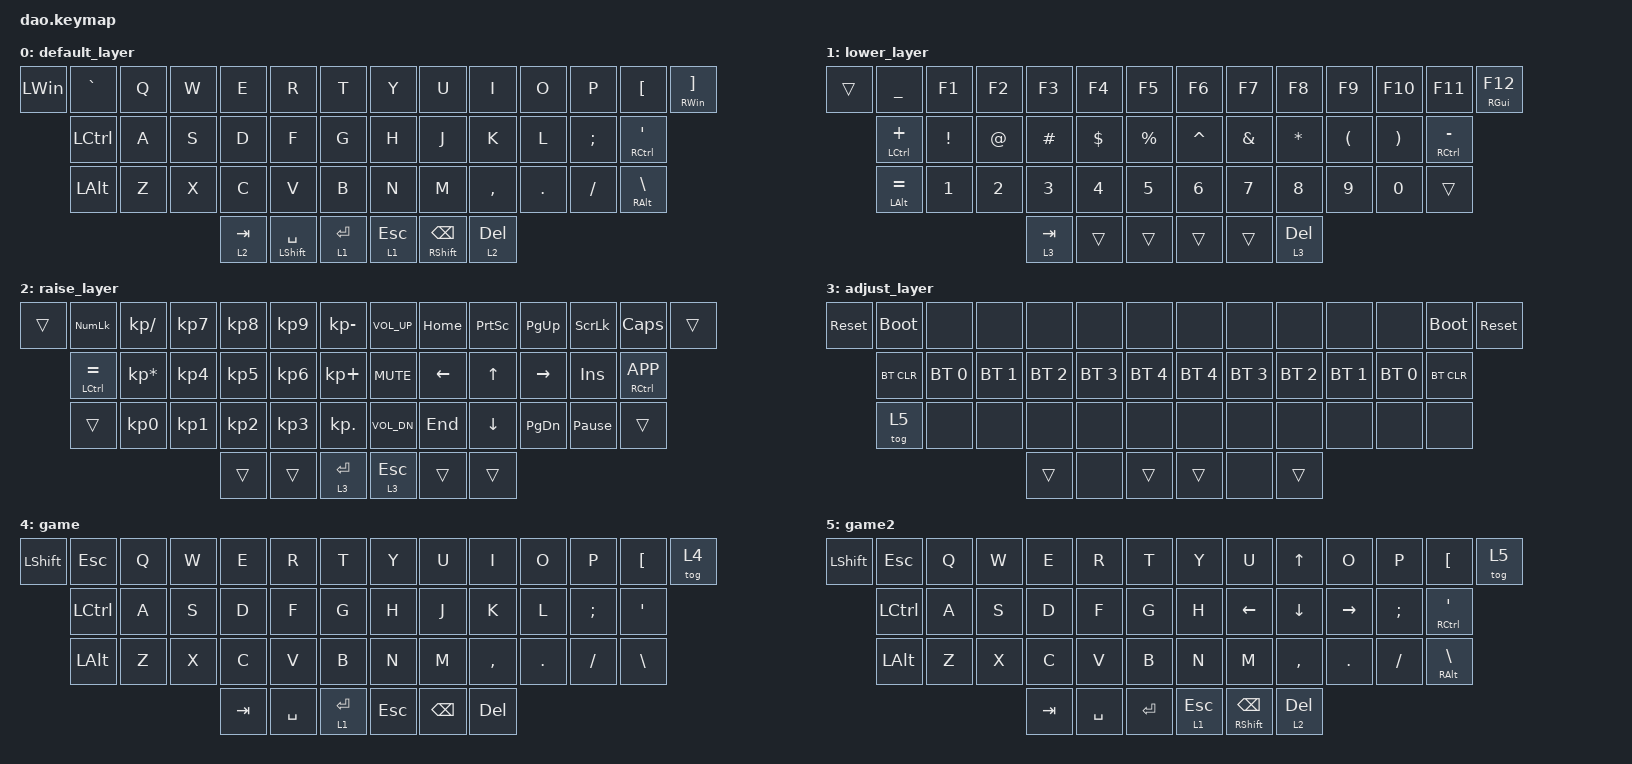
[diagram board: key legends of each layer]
/*
 * Copyright (c) 2021 Rafael Yumagulov
 *
 * SPDX-License-Identifier: MIT
 */

#include <behaviors.dtsi>
#include <dt-bindings/zmk/bt.h>
#include <dt-bindings/zmk/keys.h>

#define DEF 0
#define LWR 1
#define RSE 2
#define ADJ 3

&lt { quick_tap_ms = <200>; };

&mt { quick_tap_ms = <200>; };

/ {
    chosen {
        // zmk,matrix_transform = &default_transform;

        zmk,matrix_transform = &extra_keys_transform;
    };
};

/ {
    keymap {
        compatible = "zmk,keymap";

        default_layer {
            bindings = <
&kp LWIN  &kp GRAVE  &kp Q  &kp W  &kp E      &kp R            &kp T        &kp Y      &kp U           &kp I      &kp O    &kp P     &kp LBKT       &mt RWIN RBKT
          &kp LCTRL  &kp A  &kp S  &kp D      &kp F            &kp G        &kp H      &kp J           &kp K      &kp L    &kp SEMI  &mt RCTRL SQT
          &kp LALT   &kp Z  &kp X  &kp C      &kp V            &kp B        &kp N      &kp M           &kp COMMA  &kp DOT  &kp FSLH  &mt RALT BSLH
                                   &lt 2 TAB  &mt LSHFT SPACE  &lt 1 RET    &lt 1 ESC  &mt RSHFT BSPC  &lt 2 DEL
            >;
        };

        lower_layer {
            bindings = <
&trans  &kp UNDER       &kp F1    &kp F2  &kp F3     &kp F4    &kp F5       &kp F6     &kp F7    &kp F8     &kp F9    &kp F10   &kp F11          &mt RGUI F12
        &mt LCTRL PLUS  &kp EXCL  &kp AT  &kp HASH   &kp DLLR  &kp PRCNT    &kp CARET  &kp AMPS  &kp STAR   &kp LPAR  &kp RPAR  &mt RCTRL MINUS
        &mt LALT EQUAL  &kp N1    &kp N2  &kp N3     &kp N4    &kp N5       &kp N6     &kp N7    &kp N8     &kp N9    &kp N0    &trans
                                          &lt 3 TAB  &trans    &trans       &trans     &trans    &lt 3 DEL
            >;
        };

        raise_layer {
            bindings = <
&trans  &kp KP_NUM       &kp KP_SLASH     &kp KP_N7  &kp KP_N8  &kp KP_N9  &kp KP_MINUS    &kp C_VOL_UP  &kp HOME  &kp PSCRN  &kp PG_UP  &kp SLCK         &kp CAPS         &trans
        &mt LCTRL EQUAL  &kp KP_MULTIPLY  &kp KP_N4  &kp KP_N5  &kp KP_N6  &kp KP_PLUS     &kp C_MUTE    &kp LEFT  &kp UP     &kp RIGHT  &kp INS          &mt RCTRL K_APP
        &trans           &kp KP_N0        &kp KP_N1  &kp KP_N2  &kp KP_N3  &kp KP_DOT      &kp C_VOL_DN  &kp END   &kp DOWN   &kp PG_DN  &kp PAUSE_BREAK  &trans
                                                     &trans     &trans     &lt 3 RET       &lt 3 ESC     &trans    &trans
            >;
        };

        adjust_layer {
            bindings = <
&sys_reset  &bootloader  &none         &none         &none         &none         &none           &none         &none         &none         &none         &none         &bootloader  &sys_reset
            &bt BT_CLR   &bt BT_SEL 0  &bt BT_SEL 1  &bt BT_SEL 2  &bt BT_SEL 3  &bt BT_SEL 4    &bt BT_SEL 4  &bt BT_SEL 3  &bt BT_SEL 2  &bt BT_SEL 1  &bt BT_SEL 0  &bt BT_CLR
            &tog 5       &none         &none         &none         &none         &none           &none         &none         &none         &none         &none         &none
                                                     &trans        &none         &trans          &trans        &none         &trans
            >;
        };

        game {
            bindings = <
&kp LSHFT  &kp ESC    &kp Q  &kp W  &kp E    &kp R      &kp T          &kp Y    &kp U     &kp I      &kp O    &kp P     &kp LBKT  &tog 4
           &kp LCTRL  &kp A  &kp S  &kp D    &kp F      &kp G          &kp H    &kp J     &kp K      &kp L    &kp SEMI  &kp SQT
           &kp LALT   &kp Z  &kp X  &kp C    &kp V      &kp B          &kp N    &kp M     &kp COMMA  &kp DOT  &kp FSLH  &kp BSLH
                                    &kp TAB  &kp SPACE  &lt 1 ENTER    &kp ESC  &kp BSPC  &kp DEL
            >;
        };

        game2 {
            bindings = <
&kp LEFT_SHIFT  &kp ESCAPE  &kp Q  &kp W  &kp E    &kp R      &kp T        &kp Y      &kp U           &kp UP_ARROW  &kp O      &kp P     &kp LBKT       &tog 5
                &kp LCTRL   &kp A  &kp S  &kp D    &kp F      &kp G        &kp H      &kp LEFT        &kp DOWN      &kp RIGHT  &kp SEMI  &mt RCTRL SQT
                &kp LALT    &kp Z  &kp X  &kp C    &kp V      &kp B        &kp N      &kp M           &kp COMMA     &kp DOT    &kp FSLH  &mt RALT BSLH
                                          &kp TAB  &kp SPACE  &kp ENTER    &lt 1 ESC  &mt RSHFT BSPC  &lt 2 DEL
            >;
        };
    };
};
